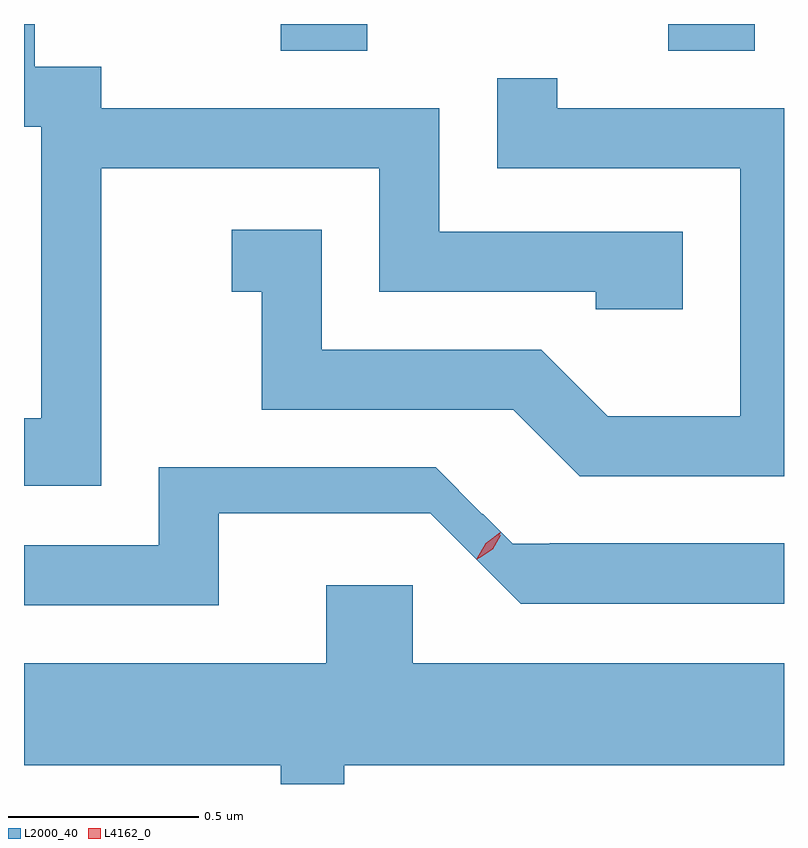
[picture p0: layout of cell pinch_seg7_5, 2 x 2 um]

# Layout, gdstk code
import gdstk
lib = gdstk.Library(unit=1e-6, precision=1e-09)
def R(c, l, rs):  # rectangles x0, y0, x1, y1
    for r in rs: c.add(gdstk.rectangle(r[:2], r[2:], *l))
def P(c, l, *ps):  # polygons
    for p in ps: c.add(gdstk.Polygon(p, *l))
L2000_40 = (2000, 40)
L4162_0 = (4162, 0)

pinch_seg7_5 = lib.new_cell('pinch_seg7_5')
R(pinch_seg7_5, L2000_40, [(1187.631,1798.336,1187.859,1798.406), (1188.651,1798.336,1188.879,1798.406)])
P(pinch_seg7_5, L2000_40, [(1187.159,1798.026),(1187.891,1798.026),(1187.891,1797.701),(1188.461,1797.701),(1188.461,1797.656),(1188.689,1797.656),(1188.689,1797.859),(1188.049,1797.859),(1188.049,1798.184),(1187.159,1798.184),(1187.159,1798.294),(1186.984,1798.294),(1186.984,1798.406),(1186.956,1798.406),(1186.956,1798.136),(1187.001,1798.136),(1187.001,1797.369),(1186.956,1797.369),(1186.956,1797.191),(1187.159,1797.191)],
  [(1188.956,1798.184),(1188.359,1798.184),(1188.359,1798.263),(1188.201,1798.263),(1188.201,1798.026),(1188.841,1798.026),(1188.841,1797.374),(1188.492,1797.374),(1188.317,1797.549),(1187.739,1797.549),(1187.739,1797.864),(1187.503,1797.864),(1187.503,1797.701),(1187.581,1797.701),(1187.581,1797.391),(1188.244,1797.391),(1188.419,1797.216),(1188.956,1797.216)],
  [(1187.469,1797.118),(1187.926,1797.118),(1187.926,1797.119),(1188.025,1797.119),(1188.263,1796.881),(1188.956,1796.881),(1188.956,1797.039),(1188.339,1797.039),(1188.339,1797.038),(1188.242,1797.038),(1188.163,1797.117),(1188.162,1797.116),(1188.039,1797.239),(1187.311,1797.239),(1187.311,1797.034),(1186.956,1797.034),(1186.956,1796.876),(1187.469,1796.876)],
  [(1187.799,1796.456),(1188.956,1796.456),(1188.956,1796.724),(1187.979,1796.724),(1187.979,1796.929),(1187.751,1796.929),(1187.751,1796.724),(1186.956,1796.724),(1186.956,1796.456),(1187.631,1796.456),(1187.631,1796.406),(1187.799,1796.406)])
P(pinch_seg7_5, L4162_0, [(1188.148,1796.998),(1188.148,1796.999),(1188.171,1797.04),(1188.209,1797.069),(1188.21,1797.069),(1188.21,1797.068),(1188.186,1797.027),(1188.149,1796.998)],
  [(1188.154,1797.001),(1188.154,1797.002),(1188.175,1797.038),(1188.209,1797.061),(1188.21,1797.061),(1188.21,1797.06),(1188.189,1797.024),(1188.155,1797.001)])

lib.write_gds('pinch_seg7_5.gds')
